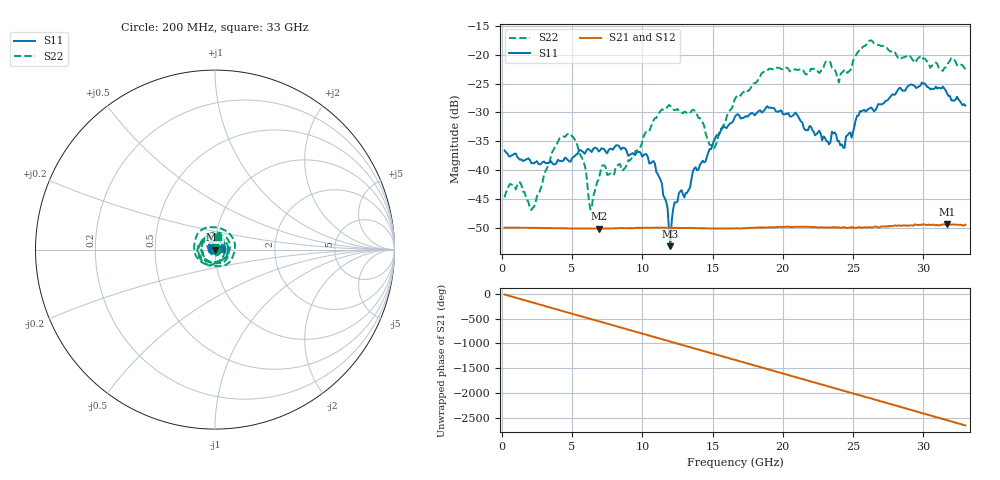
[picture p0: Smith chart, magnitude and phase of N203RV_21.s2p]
# GHZ S RI R 50
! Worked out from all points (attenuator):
!   329 points, 200 MHz to 33 GHz, reference 50 ohm
!   highest |S21| = -49.33 dB at 31.7 GHz (marker M1); lowest = -50.1 dB at 6.9 GHz (marker M2)
!   lowest |S11| = -53.2 dB at 12 GHz (marker M3), VSWR 1.00, Z = 49.8 - j0.0404 ohm
!   |S11| at or under -10 dB: start of sweep to end of sweep
!   |S22| runs from -46.9 to -17.5 dB; largest |S21 - S12| = 7.3e-05
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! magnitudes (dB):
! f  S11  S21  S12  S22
! 200 MHz  -36.6  -50.0  -49.9  -44.7
! 1.3 GHz  -38.2  -50.0  -49.9  -42.1
! 2.1 GHz  -38.8  -50.0  -50.0  -46.9
! 4.2 GHz  -38.4  -50.1  -50.1  -34.3
! 5.7 GHz  -36.7  -50.1  -50.1  -37.8
! 6.3 GHz  -36.6  -50.1  -50.1  -46.8
! 6.9 GHz  -36.8  -50.1  -50.1  -41.6
! 8.8 GHz  -36.3  -50.1  -50.0  -39.6
! 11.2 GHz  -41.2  -50.0  -49.9  -30.1
! 11.8 GHz  -46.6  -50.0  -49.9  -29.0
! 12 GHz  -53.2  -50.0  -50.0  -28.9
! 12.3 GHz  -45.6  -50.0  -50.0  -29.6
! 13.7 GHz  -39.7  -50.0  -50.0  -29.6
! 15.1 GHz  -34.9  -50.1  -50.1  -36.3
! 16.6 GHz  -30.7  -50.1  -50.1  -27.6
! 19 GHz  -29.2  -49.9  -49.9  -22.4
! 22.1 GHz  -33.0  -49.9  -49.8  -22.5
! 24.4 GHz  -36.1  -49.9  -49.9  -22.6
! 25.5 GHz  -29.7  -49.9  -49.9  -18.9
! 27.6 GHz  -27.4  -49.7  -49.7  -19.3
! 31.7 GHz  -26.7  -49.3  -49.5  -21.7
! 33 GHz  -28.8  -49.4  -49.5  -22.5
